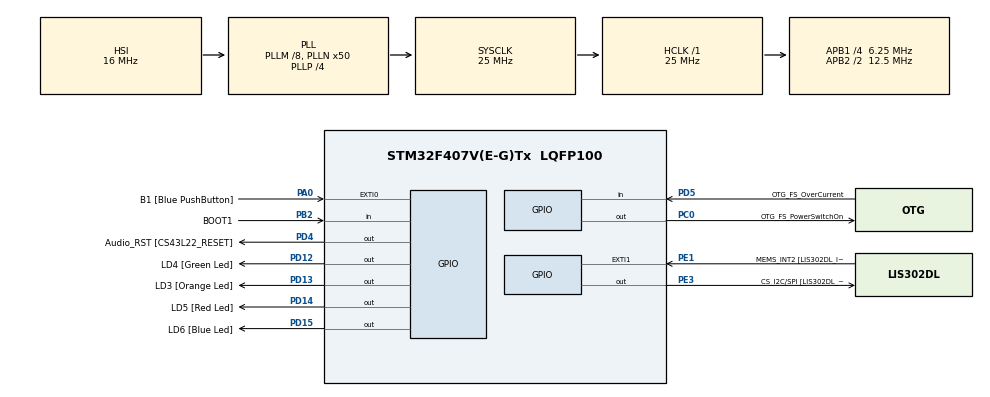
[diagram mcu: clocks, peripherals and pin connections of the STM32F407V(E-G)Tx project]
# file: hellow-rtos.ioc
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Mcu.Family=STM32F4
Mcu.Name=STM32F407V(E-G)Tx
Mcu.Package=LQFP100
NVIC.PriorityGroup=NVIC_PRIORITYGROUP_4
NVIC.TIM6_DAC_IRQn=true\:0\:0\:false\:false\:true\:false\:true\:true
NVIC.TimeBase=TIM6_DAC_IRQn
NVIC.TimeBaseIP=TIM6
PA0-WKUP.GPIO_Label=B1 [Blue PushButton]
PA0-WKUP.Signal=GPXTI0
PA10.GPIO_Label=OTG_FS_ID
PA10.GPIO_Mode=GPIO_MODE_AF_PP
PA10.GPIO_PuPd=GPIO_NOPULL
PA10.GPIO_Speed=GPIO_SPEED_FREQ_LOW
PA10.Signal=USB_OTG_FS_ID
PA11.GPIO_Label=OTG_FS_DM
PA11.GPIO_Mode=GPIO_MODE_AF_PP
PA11.GPIO_PuPd=GPIO_NOPULL
PA11.GPIO_Speed=GPIO_SPEED_FREQ_LOW
PA11.Signal=USB_OTG_FS_DM
PA12.GPIO_Label=OTG_FS_DP
PA12.GPIO_Mode=GPIO_MODE_AF_PP
PA12.GPIO_PuPd=GPIO_NOPULL
PA12.GPIO_Speed=GPIO_SPEED_FREQ_LOW
PA12.Signal=USB_OTG_FS_DP
PA13.GPIO_Label=SWDIO
PA13.Signal=SYS_JTMS-SWDIO
PA14.GPIO_Label=SWCLK
PA14.Signal=SYS_JTCK-SWCLK
PA4.GPIO_Label=I2S3_WS [CS43L22_LRCK]
PA4.GPIO_Mode=GPIO_MODE_AF_PP
PA4.GPIO_PuPd=GPIO_NOPULL
PA4.GPIO_Speed=GPIO_SPEED_FREQ_LOW
PA4.Signal=I2S3_WS
PA5.GPIO_Label=SPI1_SCK [LIS302DL_SCL/SPC]
PA5.GPIO_Mode=GPIO_MODE_AF_PP
PA5.GPIO_PuPd=GPIO_NOPULL
PA5.GPIO_Speed=GPIO_SPEED_FREQ_LOW
PA5.Signal=SPI1_SCK
PA6.GPIO_Label=SPI1_MISO [LIS302DL_SDO]
PA6.GPIO_Mode=GPIO_MODE_AF_PP
PA6.GPIO_PuPd=GPIO_NOPULL
PA6.GPIO_Speed=GPIO_SPEED_FREQ_LOW
PA6.Signal=SPI1_MISO
PA7.GPIO_Label=SPI1_MOSI [LIS302DL_SDA/SDI/SDO]
PA7.GPIO_Mode=GPIO_MODE_AF_PP
PA7.GPIO_PuPd=GPIO_NOPULL
PA7.GPIO_Speed=GPIO_SPEED_FREQ_LOW
PA7.Signal=SPI1_MOSI
PA9.GPIO_Label=VBUS_FS
PA9.GPIO_Mode=GPIO_MODE_INPUT
PA9.GPIO_PuPd=GPIO_NOPULL
PA9.Signal=USB_OTG_FS_VBUS
PB10.GPIO_Label=CLK_IN [MP45DT02_CLK]
PB10.GPIO_Mode=GPIO_MODE_AF_PP
PB10.GPIO_PuPd=GPIO_NOPULL
PB10.GPIO_Speed=GPIO_SPEED_FREQ_LOW
PB10.Signal=I2S2_CK
PB2.GPIO_Label=BOOT1
PB2.GPIO_Mode=GPIO_MODE_INPUT
PB2.GPIO_PuPd=GPIO_NOPULL
PB2.Signal=GPIO_Input
PB3.GPIO_Label=SWO
PB3.Signal=SYS_JTDO-SWO
PB6.GPIO_Label=Audio_SCL [CS43L22_SCL]
PB6.GPIO_Mode=GPIO_MODE_AF_OD
PB6.GPIO_PuPd=GPIO_NOPULL
PB6.GPIO_Speed=GPIO_SPEED_FREQ_LOW
PB6.Signal=I2C1_SCL
PB9.GPIO_Label=Audio_SDA [CS43L22_SDA]
PB9.GPIO_Mode=GPIO_MODE_AF_OD
PB9.GPIO_PuPd=GPIO_NOPULL
PB9.GPIO_Speed=GPIO_SPEED_FREQ_LOW
PB9.Signal=I2C1_SDA
PC0.GPIO_Label=OTG_FS_PowerSwitchOn
PC0.GPIO_PuPd=GPIO_NOPULL
PC0.GPIO_Speed=GPIO_SPEED_FREQ_LOW
PC0.PinState=GPIO_PIN_SET
PC0.Signal=GPIO_Output
PC10.GPIO_Label=I2S3_SCK [CS43L22_SCLK]
PC10.GPIO_Mode=GPIO_MODE_AF_PP
PC10.GPIO_PuPd=GPIO_NOPULL
PC10.GPIO_Speed=GPIO_SPEED_FREQ_LOW
PC10.Signal=I2S3_CK
PC12.GPIO_Label=I2S3_SD [CS43L22_SDIN]
PC12.GPIO_Mode=GPIO_MODE_AF_PP
PC12.GPIO_PuPd=GPIO_NOPULL
PC12.GPIO_Speed=GPIO_SPEED_FREQ_LOW
PC12.Signal=I2S3_SD
PC14-OSC32_IN.GPIO_Label=PC14-OSC32_IN
PC14-OSC32_IN.Signal=RCC_OSC32_IN
PC15-OSC32_OUT.GPIO_Label=PC15-OSC32_OUT
PC15-OSC32_OUT.Signal=RCC_OSC32_OUT
PC3.GPIO_Label=PDM_OUT [MP45DT02_DOUT]
PC3.GPIO_Mode=GPIO_MODE_AF_PP
PC3.GPIO_PuPd=GPIO_NOPULL
PC3.GPIO_Speed=GPIO_SPEED_FREQ_LOW
PC3.Signal=I2S2_SD
PC7.GPIO_Label=I2S3_MCK [CS43L22_MCLK]
PC7.GPIO_Mode=GPIO_MODE_AF_PP
PC7.GPIO_PuPd=GPIO_NOPULL
PC7.GPIO_Speed=GPIO_SPEED_FREQ_LOW
PC7.Signal=I2S3_MCK
PD12.GPIO_Label=LD4 [Green Led]
PD12.GPIO_PuPd=GPIO_NOPULL
PD12.GPIO_Speed=GPIO_SPEED_FREQ_LOW
PD12.Signal=GPIO_Output
PD13.GPIO_Label=LD3 [Orange Led]
PD13.GPIO_PuPd=GPIO_NOPULL
PD13.GPIO_Speed=GPIO_SPEED_FREQ_LOW
PD13.Signal=GPIO_Output
PD14.GPIO_Label=LD5 [Red Led]
PD14.GPIO_PuPd=GPIO_NOPULL
PD14.GPIO_Speed=GPIO_SPEED_FREQ_LOW
PD14.Signal=GPIO_Output
PD15.GPIO_Label=LD6 [Blue Led]
PD15.GPIO_PuPd=GPIO_NOPULL
PD15.GPIO_Speed=GPIO_SPEED_FREQ_LOW
PD15.Signal=GPIO_Output
PD4.GPIO_Label=Audio_RST [CS43L22_RESET]
PD4.GPIO_PuPd=GPIO_NOPULL
PD4.GPIO_Speed=GPIO_SPEED_FREQ_LOW
PD4.Signal=GPIO_Output
PD5.GPIO_Label=OTG_FS_OverCurrent
PD5.GPIO_Mode=GPIO_MODE_INPUT
PD5.GPIO_PuPd=GPIO_NOPULL
PD5.Signal=GPIO_Input
PE1.GPIO_Label=MEMS_INT2 [LIS302DL_INT2]
PE1.GPIO_ModeDefaultEXTI=GPIO_MODE_EVT_RISING
PE1.GPIO_PuPd=GPIO_NOPULL
PE1.Signal=GPXTI1
PE3.GPIO_Label=CS_I2C/SPI [LIS302DL_CS_I2C/SPI]
PE3.GPIO_PuPd=GPIO_NOPULL
PE3.GPIO_Speed=GPIO_SPEED_FREQ_LOW
PE3.Signal=GPIO_Output
PH0-OSC_IN.GPIO_Label=PH0-OSC_IN
PH0-OSC_IN.Signal=RCC_OSC_IN
PH1-OSC_OUT.GPIO_Label=PH1-OSC_OUT
PH1-OSC_OUT.Signal=RCC_OSC_OUT
ProjectManager.HeapSize=0x200
ProjectManager.StackSize=0x400
ProjectManager.TargetToolchain=STM32CubeIDE
RCC.48MHZClocksFreq_Value=14285714.285714285
RCC.AHBFreq_Value=25000000
RCC.APB1CLKDivider=RCC_HCLK_DIV4
RCC.APB1Freq_Value=6250000
RCC.APB1TimFreq_Value=12500000
RCC.APB2CLKDivider=RCC_HCLK_DIV2
RCC.APB2Freq_Value=12500000
RCC.APB2TimFreq_Value=25000000
RCC.CortexFreq_Value=25000000
RCC.HCLKFreq_Value=25000000
RCC.HSE_VALUE=8000000
RCC.HSI_VALUE=16000000
RCC.LSE_VALUE=32768
RCC.PLLM=8
RCC.PLLN=50
RCC.PLLP=RCC_PLLP_DIV4
RCC.PLLQ=7
RCC.SYSCLKFreq_VALUE=25000000
RCC.SYSCLKSource=RCC_SYSCLKSOURCE_PLLCLK
RCC.VCOOutputFreq_Value=100000000
VP_SYS_VS_tim6.Mode=TIM6
board=STM32F407G-DISC1

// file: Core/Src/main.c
/* USER CODE BEGIN Header */
/**
 ******************************************************************************
 * @file           : main.c
 * @brief          : Main program body
 ******************************************************************************
 * @attention
 *
 * Copyright (c) 2024 STMicroelectronics.
 * All rights reserved.
 *
 * This software is licensed under terms that can be found in the LICENSE file
 * in the root directory of this software component.
 * If no LICENSE file comes with this software, it is provided AS-IS
 *
 * DEVELOPER NOTES:
 * - create 2 tasks
 * - they have to print hello world to the console
 *
 ******************************************************************************
 */
/* USER CODE END Header */
#include "main.h"

/* USER CODE BEGIN Includes */
//#include <stdio.h>
#include "FreeRTOS.h"
#include "task.h"
#include "printer.h"
#include <stdint.h>
/* USER CODE END Includes */

/* USER CODE BEGIN PD */

#define  DWT_CTRL		(*(volatile uint32_t*) 0xE0001000)
/* USER CODE END PD */

void SystemClock_Config(void);
static void MX_GPIO_Init(void);
/* USER CODE BEGIN PFP */

static void task1_handler(void *parameters);
static void task2_handler(void *parameters);
/* USER CODE END PFP */

int main(void) {

	/* USER CODE BEGIN 1 */
	TaskHandle_t task1_handle;
	TaskHandle_t task2_handle;
	BaseType_t status;

	/* USER CODE END 1 */

	/* MCU Configuration--------------------------------------------------------*/

	/* Reset of all peripherals, Initializes the Flash interface and the Systick. */
	HAL_Init();

	/* Configure the system clock */
	SystemClock_Config();

	/* Initialize all configured peripherals */
	MX_GPIO_Init();
	/* USER CODE BEGIN 2 */

	// enable the CYCCNT counter

	DWT_CTRL |= (1 << 0);

    // Set the priority grouping
    NVIC_SetPriorityGrouping(0);  // we need this cause SEGGER needs this

	// start SEGGER trace
	SEGGER_SYSVIEW_Conf();
	SEGGER_SYSVIEW_Start();

	// task 1
	status = xTaskCreate(task1_handler, "task1", 200, "hello from task 1\n", 2,
			&task1_handle);
	configASSERT(status == pdPASS);

	// task 1
	status = xTaskCreate(task2_handler, "task2", 200, "hello from task 2\n", 2,
			&task2_handle);
	configASSERT(status == pdPASS);

	// start the FreeRTOSscheduler
	// if the below function fails for some reason, it is mostly due to the lack of memory in
	// the heap
	vTaskStartScheduler();

	/* USER CODE END 2 */

	/* Infinite loop */
	while (1) {

	}
}

void SystemClock_Config(void) {
	RCC_OscInitTypeDef RCC_OscInitStruct = { 0 };
	RCC_ClkInitTypeDef RCC_ClkInitStruct = { 0 };

	/** Configure the main internal regulator output voltage
	 */
	__HAL_RCC_PWR_CLK_ENABLE();
	__HAL_PWR_VOLTAGESCALING_CONFIG(PWR_REGULATOR_VOLTAGE_SCALE1);

	/** Initializes the RCC Oscillators according to the specified parameters
	 * in the RCC_OscInitTypeDef structure.
	 */
	RCC_OscInitStruct.OscillatorType = RCC_OSCILLATORTYPE_HSI;
	RCC_OscInitStruct.HSIState = RCC_HSI_ON;
	RCC_OscInitStruct.HSICalibrationValue = RCC_HSICALIBRATION_DEFAULT;
	RCC_OscInitStruct.PLL.PLLState = RCC_PLL_ON;
	RCC_OscInitStruct.PLL.PLLSource = RCC_PLLSOURCE_HSI;
	RCC_OscInitStruct.PLL.PLLM = 8;
	RCC_OscInitStruct.PLL.PLLN = 50;
	RCC_OscInitStruct.PLL.PLLP = RCC_PLLP_DIV4;
	RCC_OscInitStruct.PLL.PLLQ = 7;
	if (HAL_RCC_OscConfig(&RCC_OscInitStruct) != HAL_OK) {
		Error_Handler();
	}

	/** Initializes the CPU, AHB and APB buses clocks
	 */
	RCC_ClkInitStruct.ClockType = RCC_CLOCKTYPE_HCLK | RCC_CLOCKTYPE_SYSCLK
			| RCC_CLOCKTYPE_PCLK1 | RCC_CLOCKTYPE_PCLK2;
	RCC_ClkInitStruct.SYSCLKSource = RCC_SYSCLKSOURCE_PLLCLK;
	RCC_ClkInitStruct.AHBCLKDivider = RCC_SYSCLK_DIV1;
	RCC_ClkInitStruct.APB1CLKDivider = RCC_HCLK_DIV4;
	RCC_ClkInitStruct.APB2CLKDivider = RCC_HCLK_DIV2;

	if (HAL_RCC_ClockConfig(&RCC_ClkInitStruct, FLASH_LATENCY_0) != HAL_OK) {
		Error_Handler();
	}
}

static void MX_GPIO_Init(void) {
	GPIO_InitTypeDef GPIO_InitStruct = { 0 };

	/* GPIO Ports Clock Enable */
	__HAL_RCC_GPIOE_CLK_ENABLE();
	__HAL_RCC_GPIOC_CLK_ENABLE();
	__HAL_RCC_GPIOH_CLK_ENABLE();
	__HAL_RCC_GPIOA_CLK_ENABLE();
	__HAL_RCC_GPIOB_CLK_ENABLE();
	__HAL_RCC_GPIOD_CLK_ENABLE();

	/*Configure GPIO pin Output Level */
	HAL_GPIO_WritePin(CS_I2C_SPI_GPIO_Port, CS_I2C_SPI_Pin, GPIO_PIN_RESET);

	/*Configure GPIO pin Output Level */
	HAL_GPIO_WritePin(OTG_FS_PowerSwitchOn_GPIO_Port, OTG_FS_PowerSwitchOn_Pin,
			GPIO_PIN_SET);

	/*Configure GPIO pin Output Level */
	HAL_GPIO_WritePin(GPIOD,
			LD4_Pin | LD3_Pin | LD5_Pin | LD6_Pin | Audio_RST_Pin,
			GPIO_PIN_RESET);

	/*Configure GPIO pin : CS_I2C_SPI_Pin */
	GPIO_InitStruct.Pin = CS_I2C_SPI_Pin;
	GPIO_InitStruct.Mode = GPIO_MODE_OUTPUT_PP;
	GPIO_InitStruct.Pull = GPIO_NOPULL;
	GPIO_InitStruct.Speed = GPIO_SPEED_FREQ_LOW;
	HAL_GPIO_Init(CS_I2C_SPI_GPIO_Port, &GPIO_InitStruct);

	/*Configure GPIO pin : OTG_FS_PowerSwitchOn_Pin */
	GPIO_InitStruct.Pin = OTG_FS_PowerSwitchOn_Pin;
	GPIO_InitStruct.Mode = GPIO_MODE_OUTPUT_PP;
	GPIO_InitStruct.Pull = GPIO_NOPULL;
	GPIO_InitStruct.Speed = GPIO_SPEED_FREQ_LOW;
	HAL_GPIO_Init(OTG_FS_PowerSwitchOn_GPIO_Port, &GPIO_InitStruct);

	/*Configure GPIO pin : PDM_OUT_Pin */
	GPIO_InitStruct.Pin = PDM_OUT_Pin;
	GPIO_InitStruct.Mode = GPIO_MODE_AF_PP;
	GPIO_InitStruct.Pull = GPIO_NOPULL;
	GPIO_InitStruct.Speed = GPIO_SPEED_FREQ_LOW;
	GPIO_InitStruct.Alternate = GPIO_AF5_SPI2;
	HAL_GPIO_Init(PDM_OUT_GPIO_Port, &GPIO_InitStruct);

	/*Configure GPIO pin : B1_Pin */
	GPIO_InitStruct.Pin = B1_Pin;
	GPIO_InitStruct.Mode = GPIO_MODE_IT_RISING;
	GPIO_InitStruct.Pull = GPIO_NOPULL;
	HAL_GPIO_Init(B1_GPIO_Port, &GPIO_InitStruct);

	/*Configure GPIO pin : I2S3_WS_Pin */
	GPIO_InitStruct.Pin = I2S3_WS_Pin;
	GPIO_InitStruct.Mode = GPIO_MODE_AF_PP;
	GPIO_InitStruct.Pull = GPIO_NOPULL;
	GPIO_InitStruct.Speed = GPIO_SPEED_FREQ_LOW;
	GPIO_InitStruct.Alternate = GPIO_AF6_SPI3;
	HAL_GPIO_Init(I2S3_WS_GPIO_Port, &GPIO_InitStruct);

	/*Configure GPIO pins : SPI1_SCK_Pin SPI1_MISO_Pin SPI1_MOSI_Pin */
	GPIO_InitStruct.Pin = SPI1_SCK_Pin | SPI1_MISO_Pin | SPI1_MOSI_Pin;
	GPIO_InitStruct.Mode = GPIO_MODE_AF_PP;
	GPIO_InitStruct.Pull = GPIO_NOPULL;
	GPIO_InitStruct.Speed = GPIO_SPEED_FREQ_LOW;
	GPIO_InitStruct.Alternate = GPIO_AF5_SPI1;
	HAL_GPIO_Init(GPIOA, &GPIO_InitStruct);

	/*Configure GPIO pin : BOOT1_Pin */
	GPIO_InitStruct.Pin = BOOT1_Pin;
	GPIO_InitStruct.Mode = GPIO_MODE_INPUT;
	GPIO_InitStruct.Pull = GPIO_NOPULL;
	HAL_GPIO_Init(BOOT1_GPIO_Port, &GPIO_InitStruct);

	/*Configure GPIO pin : CLK_IN_Pin */
	GPIO_InitStruct.Pin = CLK_IN_Pin;
	GPIO_InitStruct.Mode = GPIO_MODE_AF_PP;
	GPIO_InitStruct.Pull = GPIO_NOPULL;
	GPIO_InitStruct.Speed = GPIO_SPEED_FREQ_LOW;
	GPIO_InitStruct.Alternate = GPIO_AF5_SPI2;
	HAL_GPIO_Init(CLK_IN_GPIO_Port, &GPIO_InitStruct);

	/*Configure GPIO pins : LD4_Pin LD3_Pin LD5_Pin LD6_Pin
	 Audio_RST_Pin */
	GPIO_InitStruct.Pin = LD4_Pin | LD3_Pin | LD5_Pin | LD6_Pin | Audio_RST_Pin;
	GPIO_InitStruct.Mode = GPIO_MODE_OUTPUT_PP;
	GPIO_InitStruct.Pull = GPIO_NOPULL;
	GPIO_InitStruct.Speed = GPIO_SPEED_FREQ_LOW;
	HAL_GPIO_Init(GPIOD, &GPIO_InitStruct);

	/*Configure GPIO pins : I2S3_MCK_Pin I2S3_SCK_Pin I2S3_SD_Pin */
	GPIO_InitStruct.Pin = I2S3_MCK_Pin | I2S3_SCK_Pin | I2S3_SD_Pin;
	GPIO_InitStruct.Mode = GPIO_MODE_AF_PP;
	GPIO_InitStruct.Pull = GPIO_NOPULL;
	GPIO_InitStruct.Speed = GPIO_SPEED_FREQ_LOW;
	GPIO_InitStruct.Alternate = GPIO_AF6_SPI3;
	HAL_GPIO_Init(GPIOC, &GPIO_InitStruct);

	/*Configure GPIO pin : VBUS_FS_Pin */
	GPIO_InitStruct.Pin = VBUS_FS_Pin;
	GPIO_InitStruct.Mode = GPIO_MODE_INPUT;
	GPIO_InitStruct.Pull = GPIO_NOPULL;
	HAL_GPIO_Init(VBUS_FS_GPIO_Port, &GPIO_InitStruct);

	/*Configure GPIO pins : OTG_FS_ID_Pin OTG_FS_DM_Pin OTG_FS_DP_Pin */
	GPIO_InitStruct.Pin = OTG_FS_ID_Pin | OTG_FS_DM_Pin | OTG_FS_DP_Pin;
	GPIO_InitStruct.Mode = GPIO_MODE_AF_PP;
	GPIO_InitStruct.Pull = GPIO_NOPULL;
	GPIO_InitStruct.Speed = GPIO_SPEED_FREQ_LOW;
	GPIO_InitStruct.Alternate = GPIO_AF10_OTG_FS;
	HAL_GPIO_Init(GPIOA, &GPIO_InitStruct);

	/*Configure GPIO pin : OTG_FS_OverCurrent_Pin */
	GPIO_InitStruct.Pin = OTG_FS_OverCurrent_Pin;
	GPIO_InitStruct.Mode = GPIO_MODE_INPUT;
	GPIO_InitStruct.Pull = GPIO_NOPULL;
	HAL_GPIO_Init(OTG_FS_OverCurrent_GPIO_Port, &GPIO_InitStruct);

	/*Configure GPIO pins : Audio_SCL_Pin Audio_SDA_Pin */
	GPIO_InitStruct.Pin = Audio_SCL_Pin | Audio_SDA_Pin;
	GPIO_InitStruct.Mode = GPIO_MODE_AF_OD;
	GPIO_InitStruct.Pull = GPIO_NOPULL;
	GPIO_InitStruct.Speed = GPIO_SPEED_FREQ_LOW;
	GPIO_InitStruct.Alternate = GPIO_AF4_I2C1;
	HAL_GPIO_Init(GPIOB, &GPIO_InitStruct);

	/*Configure GPIO pin : MEMS_INT2_Pin */
	GPIO_InitStruct.Pin = MEMS_INT2_Pin;
	GPIO_InitStruct.Mode = GPIO_MODE_EVT_RISING;
	GPIO_InitStruct.Pull = GPIO_NOPULL;
	HAL_GPIO_Init(MEMS_INT2_GPIO_Port, &GPIO_InitStruct);

}

/* USER CODE BEGIN 4 */

static void task1_handler(void *parameters) {
	while (1) {
		ITMPrint(parameters);
	}
}

static void task2_handler(void *parameters) {
	while (1) {
		ITMPrint(parameters);
	}
}

/* USER CODE END 4 */

void HAL_TIM_PeriodElapsedCallback(TIM_HandleTypeDef *htim) {
	if (htim->Instance == TIM6) {
		HAL_IncTick();
	}
}

void Error_Handler(void) {
	__disable_irq();
	while (1) {
	}
}
